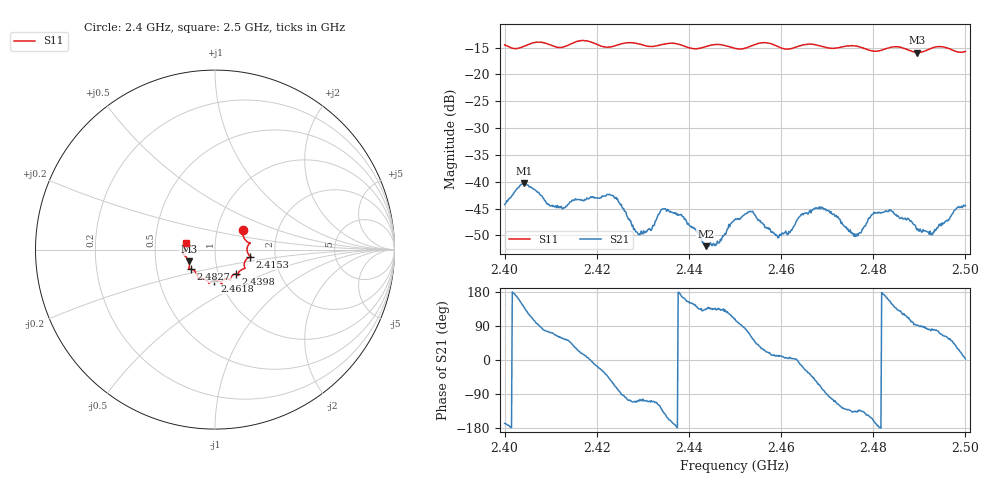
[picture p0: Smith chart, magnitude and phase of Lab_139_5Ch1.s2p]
# Hz S RI R 50
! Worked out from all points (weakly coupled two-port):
!   601 points, 2.4 GHz to 2.5 GHz, reference 50 ohm
!   highest |S21| = -40.33 dB at 2.4042 GHz (marker M1); lowest = -52.0 dB at 2.4437 GHz (marker M2)
!   lowest |S11| = -15.9 dB at 2.4895 GHz (marker M3), VSWR 1.38, Z = 37 - j5.01 ohm
!   |S11| at or under -10 dB: start of sweep to end of sweep
!   S12 and S22 are empty: the file has one direction only
!   S11 on the Smith chart (normalised r, x): 2.4 GHz: 1.33, +0.30; 2.4153 GHz: 1.48, -0.12; 2.4398 GHz: 1.21, -0.34; 2.4618 GHz: 0.94, -0.33; 2.4827 GHz: 0.75, -0.17; 2.5 GHz: 0.72, +0.06
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2.4e9  0.1553 0.1072  -0.00599 -0.00134  0 0  0 0
2.404167e9  0.1766 0.046  -0.00735 0.00622  0 0  0 0
2.410333e9  0.1835 0.0227  0.00189 0.00572  0 0  0 0
2.415333e9  0.1965 -0.0393  0.00586 0.00371  0 0  0 0
2.416667e9  0.2023 -0.0431  0.00638 0.00207  0 0  0 0
2.423167e9  0.1631 -0.0788  0.00421 -0.00618  0 0  0 0
2.429e9  0.1616 -0.1064  -0.000941 -0.0031  0 0  0 0
2.433333e9  0.1295 -0.1338  -0.0023 -0.00437  0 0  0 0
2.439833e9  0.1155 -0.1355  -0.00366 0.00182  0 0  0 0
2.443667e9  0.0864 -0.16  -0.0017 0.00184  0 0  0 0
2.45e9  0.0656 -0.1623  -0.0014 0.0042  0 0  0 0
2.4535e9  0.0367 -0.1805  0.0025 0.0046  0 0  0 0
2.459e9  0.0308 -0.1817  0.00311 0.000665  0 0  0 0
2.461833e9  -0.00321 -0.1729  0.00331 0.000414  0 0  0 0
2.466667e9  -0.0348 -0.1882  0.00397 -0.00371  0 0  0 0
2.47e9  -0.048 -0.1702  -7.75e-05 -0.00541  0 0  0 0
2.476167e9  -0.0958 -0.1573  -0.00225 -0.00211  0 0  0 0
2.482667e9  -0.135 -0.1084  -0.00524 0.0011  0 0  0 0
2.483333e9  -0.1401 -0.108  -0.00492 0.00191  0 0  0 0
2.4895e9  -0.1457 -0.066  -0.000102 0.00355  0 0  0 0
2.492667e9  -0.1734 -0.0289  0.000507 0.00326  0 0  0 0
2.5e9  -0.1591 0.0386  0.00598 0.000325  0 0  0 0
